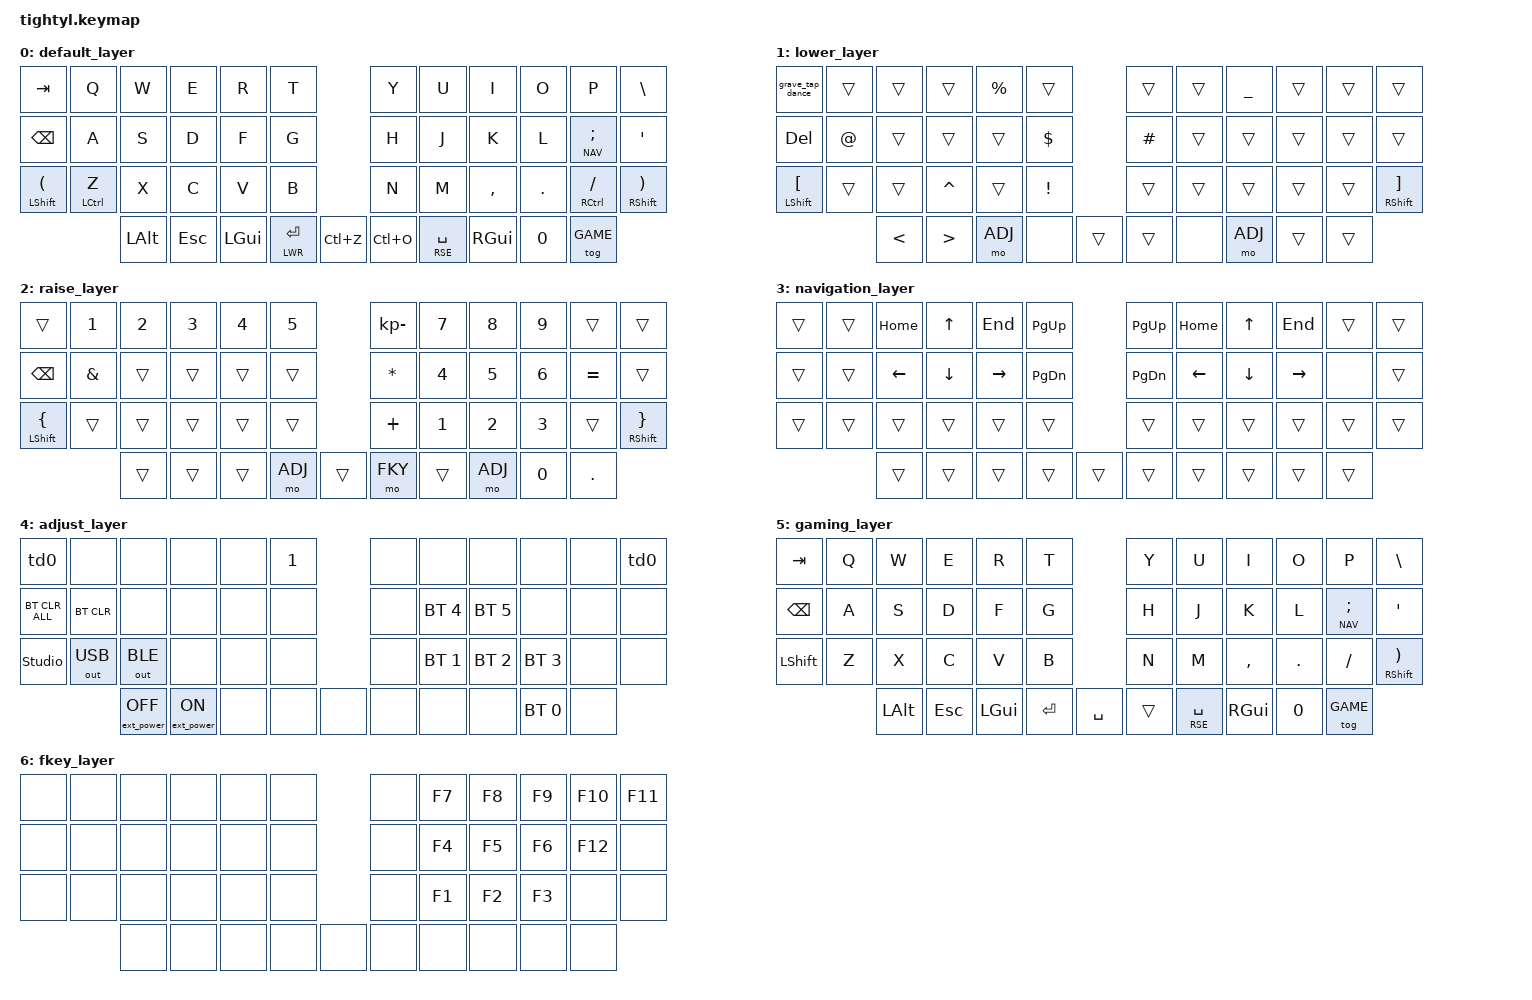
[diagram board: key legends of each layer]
#include <behaviors.dtsi>
#include <dt-bindings/zmk/keys.h>
#include <dt-bindings/zmk/bt.h>
#include <dt-bindings/zmk/ext_power.h>
#include <dt-bindings/zmk/outputs.h>

#define DEF 0
#define LWR 1
#define RSE 2
#define NAV 3
#define ADJ 4
#define GAME 5
#define FKY 6

// to get into bootloader:
//   - left hand: hold top two thumb keys for (ADJ) (or RSE+LWR) then double tap top left corner
//   - right hand: hold top two thumb keys for (ADJ) (or RSE+LWR) then double tap top right corner


/ {
    behaviors {
        td0: tap_dance_0 {
            compatible = "zmk,behavior-tap-dance";
            #binding-cells = <0>;
            bindings = <&sys_reset>, <&bootloader>;
            tapping-term-ms = <200>;
        };
        grave_tap_dance: tap_dance {
            compatible = "zmk,behavior-tap-dance";
            label = "GRAVE_TAP_DANCE";
            #binding-cells = <0>;
            tapping-term-ms = <200>;
            bindings = <&kp GRAVE>, <&code_block_macro>;
        };
    };
    macros {
        code_block_macro: code_block_macro {
            compatible = "zmk,behavior-macro";
            label = "CODE_BLOCK_MACRO";
            #binding-cells = <0>;
            bindings
                = <&macro_tap &kp GRAVE &kp GRAVE &kp GRAVE>
                , <&macro_tap &kp ENTER>
                , <&macro_tap &kp ENTER>
                , <&macro_tap &kp GRAVE &kp GRAVE &kp GRAVE>
                , <&macro_tap &kp UP>
                ;
        };
    };
    keymap {
        compatible = "zmk,keymap";
        default_layer {
			bindings = <
&kp TAB          &kp Q        &kp W             &kp E            &kp R     &kp T                           	&kp Y         &kp U        &kp I        &kp O        &kp P          &kp BSLH
&kp BSPC         &kp A        &kp S             &kp D            &kp F     &kp G                           	&kp H         &kp J        &kp K        &kp L        &lt NAV SEMI   &kp SQT
&mt LSHFT LPAR   &mt LCTRL Z  &kp X             &kp C            &kp V     &kp B                           	&kp N         &kp M        &kp COMMA    &kp DOT      &mt RCTRL FSLH &mt RSHFT RPAR
                              &kp LALT          &kp ESC          &kp LGUI  &lt LWR RET &kp LC(Z) &kp LC(O) 	&lt RSE SPACE &kp RGUI     &kp N0       &tog GAME
            >;
        };
        lower_layer {
			bindings = <
&grave_tap_dance &trans       &trans            &trans           &kp PRCNT &trans                          	&trans        &trans       &kp UNDER    &trans       &trans         &trans
&kp DEL          &kp AT       &trans            &trans           &trans    &kp DLLR                        	&kp HASH      &trans       &trans       &trans       &trans         &trans
&mt LSHFT LBKT   &trans       &trans            &kp CARET        &trans    &kp EXCL                        	&trans        &trans       &trans       &trans       &trans         &mt RSHFT RBKT
                              &kp LT            &kp GT           &mo ADJ   &none       &trans    &trans    	&none         &mo ADJ      &trans       &trans
            >;
        };
        raise_layer {
			bindings = <
&trans           &kp N1       &kp N2            &kp N3           &kp N4    &kp N5                          	&kp KP_MINUS  &kp N7       &kp N8       &kp N9       &trans         &trans
&kp BSPC         &kp AMPS     &trans            &trans           &trans    &trans                          	&kp ASTRK     &kp N4       &kp N5       &kp N6       &kp EQUAL      &trans
&mt LSHFT LBRC   &trans       &trans            &trans           &trans    &trans                          	&kp PLUS      &kp N1       &kp N2       &kp N3       &trans         &mt RSHFT RBRC
                              &trans            &trans           &trans    &mo ADJ     &trans    &mo FKY   	&trans        &mo ADJ      &kp N0       &kp DOT
            >;
        };
        navigation_layer {
			bindings = <
&trans           &trans       &kp HOME          &kp UP           &kp END   &kp PG_UP                       	&kp PG_UP     &kp HOME     &kp UP       &kp END      &trans         &trans
&trans           &trans       &kp LEFT          &kp DOWN         &kp RIGHT &kp PG_DN                       	&kp PG_DN     &kp LEFT     &kp DOWN     &kp RIGHT    &none          &trans
&trans           &trans       &trans            &trans           &trans    &trans                          	&trans        &trans       &trans       &trans       &trans         &trans
                              &trans            &trans           &trans    &trans      &trans    &trans    	&trans        &trans       &trans       &trans
            >;
        };
        adjust_layer {
			bindings = <
&td0             &none        &none             &none            &none     &kp N1                          	&none         &none        &none        &none        &none          &td0
&bt BT_CLR_ALL   &bt BT_CLR   &none             &none            &none     &none                           	&none         &bt BT_SEL 4 &bt BT_SEL 5 &none        &none          &none
&studio_unlock   &out OUT_USB &out OUT_BLE      &none            &none     &none                           	&none         &bt BT_SEL 1 &bt BT_SEL 2 &bt BT_SEL 3 &none          &none
                              &ext_power EP_OFF &ext_power EP_ON &none     &none       &none     &none     	&none         &none        &bt BT_SEL 0 &none
            >;
		};
		gaming_layer {		// no funky layer business on left hand that messes up movement. Right hand layers are kept to allow typing special characters
			bindings = <
&kp TAB          &kp Q        &kp W             &kp E            &kp R     &kp T                           	&kp Y         &kp U        &kp I        &kp O        &kp P          &kp BSLH
&kp BSPC         &kp A        &kp S             &kp D            &kp F     &kp G                           	&kp H         &kp J        &kp K        &kp L        &lt NAV SEMI   &kp SQT
&kp LSHFT        &kp Z        &kp X             &kp C            &kp V     &kp B                           	&kp N         &kp M        &kp COMMA    &kp DOT      &kp FSLH       &mt RSHFT RPAR
                              &kp LALT          &kp ESC          &kp LGUI  &kp RET     &kp SPACE &trans    	&lt RSE SPACE &kp RGUI     &kp N0       &tog GAME
            >;
		};
		fkey_layer {
			bindings = <
&none            &none        &none             &none            &none     &none                           	&none         &kp F7       &kp F8       &kp F9       &kp F10        &kp F11
&none            &none        &none             &none            &none     &none                           	&none         &kp F4       &kp F5       &kp F6       &kp F12        &none
&none            &none        &none             &none            &none     &none                           	&none         &kp F1       &kp F2       &kp F3       &none          &none
                              &none             &none            &none     &none       &none     &none     	&none         &none        &none        &none
            >;
		};
        extra1 {
            status = "reserved";
        };
        extra2 {
            status = "reserved";
        };
    };
};
